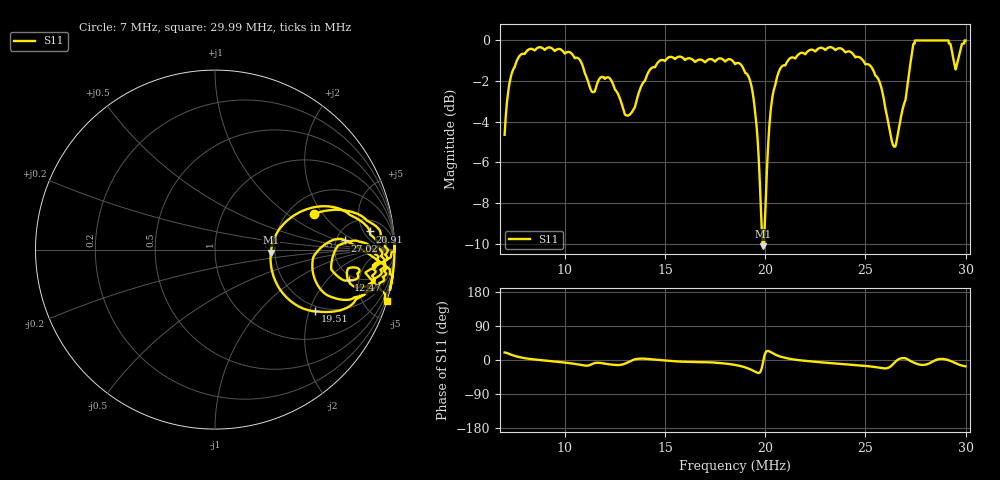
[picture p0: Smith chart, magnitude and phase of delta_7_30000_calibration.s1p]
! Touchstone file generated by AntScope2
# MHz Z RI R 50
! Format: Frequency Z-real Z-imaginary (normalized to 50 Ohm)
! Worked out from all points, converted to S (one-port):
!   2000 points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, 7 MHz to 29.99 MHz, reference 50 ohm
!   lowest |S11| = -10.1 dB at 19.9 MHz (marker M1), VSWR 1.90, Z = 95.1 - j3.67 ohm
!   |S11| at or under -10 dB: 19.87157 MHz to 19.92428 MHz (52.71 kHz wide, 0.265 % of centre)
!   S11 on the Smith chart (normalised r, x): 7 MHz: 2.73, +1.65; 12.47 MHz: 4.41, -3.63; 19.51 MHz: 1.82, -2.20; 20.91 MHz: 8, +7; 27.02 MHz: 6.06, +1.31; 29.99 MHz: -0.00, -6.83
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7  2.728 1.646
7.322  4.03 4.847
7.782  7.524 11.15
9.875  7.911 -14.61
11.324  4.678 -3.29
12.474  4.406 -3.625
12.75  4.166 -2.814
13.187  4.569 -0.9596
13.785  7.124 1.685
15.625  13.97 -10.01
18.5  3.823 -6.441
19.167  2.096 -3.924
19.512  1.818 -2.197
19.696  1.778 -1.285
19.903  1.901 -0.0734
20.225  2.604 2.084
20.915  8.435 6.915
21.375  18.57 6.427
24.25  2.513 -8.438
25.8025  2.58 -3.437
26.3545  3.111 -1.06
27.0215  6.057 1.307
27.125  8.775 0.6528
27.4355  2.009 -15.04
27.8725  0 -8.743
28.8845  0 42.25
29.517  6.323 -6.258
29.9885  0 -6.828
